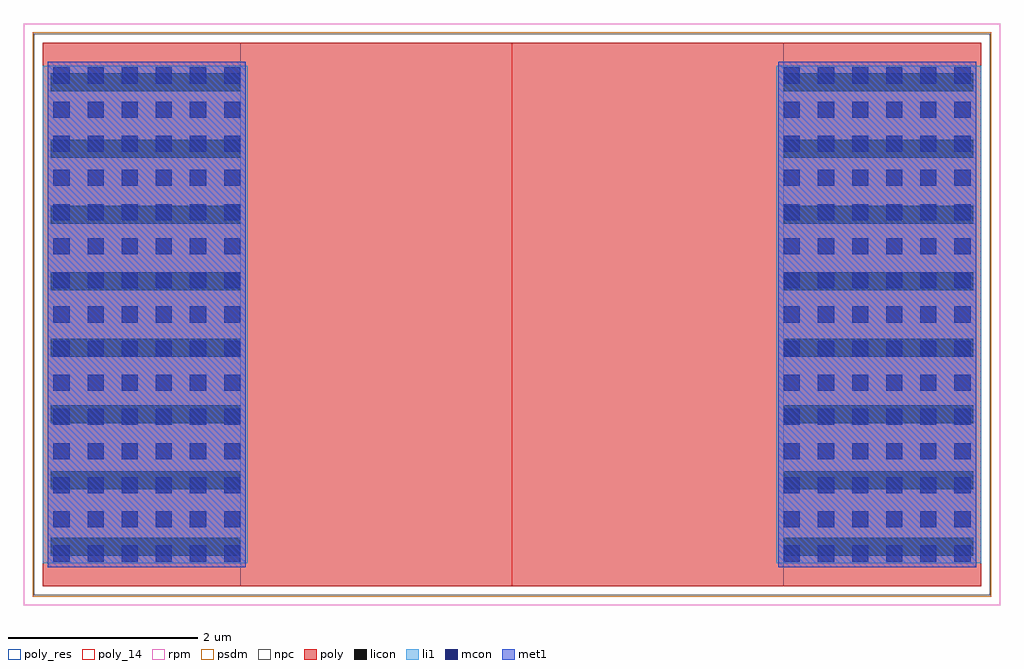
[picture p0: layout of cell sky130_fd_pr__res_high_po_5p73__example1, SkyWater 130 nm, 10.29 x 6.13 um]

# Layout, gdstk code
from math import pi, radians
import gdstk
lib = gdstk.Library(unit=1e-6, precision=1e-09)
def R(c, l, rs):  # rectangles x0, y0, x1, y1
    for r in rs: c.add(gdstk.rectangle(r[:2], r[2:], *l))
def A(c, l, x, y, w, h, nx, ny, dx, dy):  # array of equal rectangles
    R(c, l, [(x+i*dx, y+j*dy, x+i*dx+w, y+j*dy+h) for i in range(nx) for j in range(ny)])
poly_res = (66, 13)
poly_14 = (66, 14)
poly = (66, 20)
licon = (66, 44)
li1 = (67, 20)
mcon = (67, 44)
met1 = (68, 20)
rpm = (86, 20)
psdm = (94, 20)
npc = (95, 20)

sky130_fd_pr__res_high_p = lib.new_cell('sky130_fd_pr__res_high_pol1m1_5p73__example1')
R(sky130_fd_pr__res_high_p, li1, [(0,0,1.97,5.21)])
A(sky130_fd_pr__res_high_p, mcon, 0, 0, 0.17, 0.17, 6, 15, 0.36, 0.36)
R(sky130_fd_pr__res_high_p, met1, [(-0.06,-0.06,2.03,5.27)])

c_sky130_fd_pr__res_high_p = lib.new_cell('sky130_fd_pr__res_high_pol1_5p73__example1')
R(c_sky130_fd_pr__res_high_p, poly, [(0,0,2.16,5.25)])
A(c_sky130_fd_pr__res_high_p, licon, 0.08, 0.08, 2, 0.19, 1, 8, 0, 0.7)
R(c_sky130_fd_pr__res_high_p, li1, [(0,0,2.16,5.25)])

c_sky130_fd_pr__res_high_p_ = lib.new_cell('sky130_fd_pr__res_high_po_5p73__example1')
R(c_sky130_fd_pr__res_high_p_, poly_res, [(0,0,5.73,5.73)])
R(c_sky130_fd_pr__res_high_p_, poly_14, [(2.863,0,2.868,5.73)])
R(c_sky130_fd_pr__res_high_p_, poly, [(-2.08,0,7.81,5.73)])
R(c_sky130_fd_pr__res_high_p_, li1, [(-2.08,0.24,0.08,5.49), (5.65,0.24,7.81,5.49)])
R(c_sky130_fd_pr__res_high_p_, met1, [(-2.03,0.2,0.06,5.53), (5.67,0.2,7.76,5.53)])
R(c_sky130_fd_pr__res_high_p_, rpm, [(-2.28,-0.2,8.01,5.93)])
R(c_sky130_fd_pr__res_high_p_, psdm, [(-2.19,-0.11,7.92,5.84)])
R(c_sky130_fd_pr__res_high_p_, npc, [(-2.175,-0.095,7.905,5.825)])
c_sky130_fd_pr__res_high_p_.add(gdstk.Reference(sky130_fd_pr__res_high_p, (5.73,0.26)))
c_sky130_fd_pr__res_high_p_.add(gdstk.Reference(sky130_fd_pr__res_high_p, (0,0.26), rotation=pi, x_reflection=True))
c_sky130_fd_pr__res_high_p_.add(gdstk.Reference(c_sky130_fd_pr__res_high_p, (5.65,0.24)))
c_sky130_fd_pr__res_high_p_.add(gdstk.Reference(c_sky130_fd_pr__res_high_p, (0.08,0.24), rotation=pi, x_reflection=True))

lib.write_gds('sky130_fd_pr__res_high_po_5p73__example1.gds')
